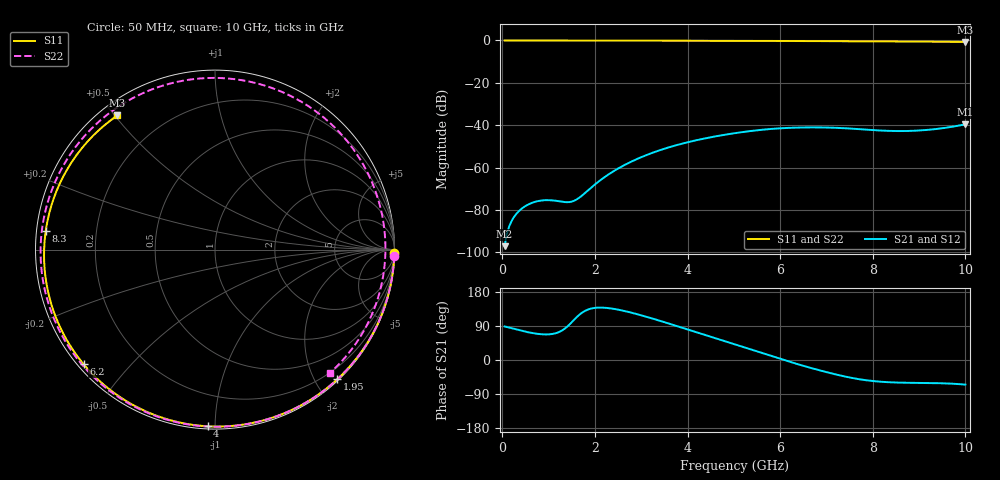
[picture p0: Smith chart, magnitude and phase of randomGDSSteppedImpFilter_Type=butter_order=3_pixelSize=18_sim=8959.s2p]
! freq	dB(S11)	phase(S11)	dB(S12)	phase(S12)
!  dB(S21)	phase(S21)	dB(S22)	phase(S22)
!S-par simulation data
#  GHz  S  DB  R 50
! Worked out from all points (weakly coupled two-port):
!   200 points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, 50 MHz to 10 GHz, reference 50 ohm
!   highest |S21| = -39.59 dB at 10 GHz (marker M1); lowest = -97.1 dB at 50 MHz (marker M2)
!   lowest |S11| = -0.7 dB at 10 GHz (marker M3), VSWR 25.35, Z = 2.48 + j25.4 ohm
!   |S11| at or under -10 dB: nowhere
!   |S22| runs from -0.5 to 0.0 dB; largest |S21 - S12| = 0
!   S11 on the Smith chart (normalised r, x): 50 MHz: 1, -93; 1.95 GHz: 0.02, -2.32; 4 GHz: 0.01, -0.96; 6.2 GHz: 0.02, -0.37; 8.3 GHz: 0.03, +0.06; 10 GHz: 0.05, +0.51
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0.05  -0.00 -1.2  -97.13 88.5  -97.13 88.5  -0.00 -2.0
0.4  -0.01 -9.8  -79.76 77.6  -79.76 77.6  -0.02 -16.0
0.8  -0.02 -19.4  -75.73 68.4  -75.73 68.4  -0.04 -31.9
1.45  -0.04 -34.9  -76.31 93.5  -76.31 93.5  -0.07 -57.2
1.75  -0.05 -42.0  -72.72 127.1  -72.72 127.1  -0.09 -68.7
1.95  -0.06 -46.7  -68.93 136.6  -68.93 136.6  -0.10 -76.2
2.65  -0.08 -62.7  -58.70 129.0  -58.70 129.0  -0.13 -102.5
3.4  -0.11 -79.4  -51.85 103.6  -51.85 103.6  -0.17 -130.3
4  -0.13 -92.4  -48.08 80.7  -48.08 80.7  -0.20 -152.8
4.55  -0.15 -104.1  -45.51 59.4  -45.51 59.4  -0.24 -174.0
5.05  -0.18 -114.7  -43.69 40.2  -43.69 40.2  -0.27 165.9
5.6  -0.21 -126.2  -42.19 18.8  -42.19 18.8  -0.31 142.8
6.2  -0.25 -138.9  -41.26 -4.4  -41.26 -4.4  -0.36 116.0
6.7  -0.29 -149.6  -41.05 -22.2  -41.05 -22.2  -0.38 92.8
7.05  -0.32 -157.3  -41.14 -33.5  -41.14 -33.5  -0.40 76.2
7.4  -0.36 -165.1  -41.45 -43.6  -41.45 -43.6  -0.41 59.6
7.85  -0.41 -175.5  -42.10 -53.3  -42.10 -53.3  -0.42 38.5
8.3  -0.46 173.6  -42.66 -58.4  -42.66 -58.4  -0.43 18.3
8.35  -0.46 172.4  -42.70 -58.7  -42.70 -58.7  -0.44 16.1
8.7  -0.51 163.5  -42.77 -60.0  -42.77 -60.0  -0.45 1.2
9.1  -0.56 152.7  -42.37 -60.6  -42.37 -60.6  -0.47 -14.9
10  -0.69 126.0  -39.59 -65.0  -39.59 -65.0  -0.55 -47.0
